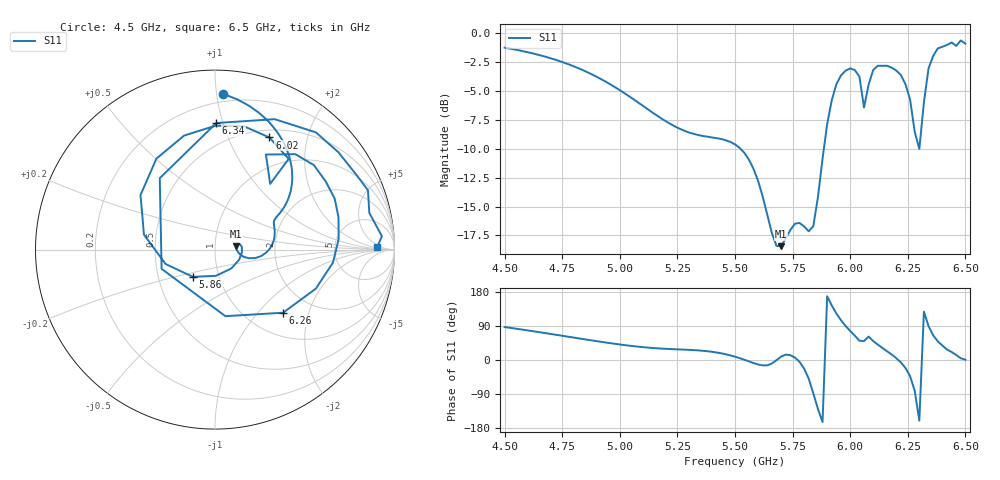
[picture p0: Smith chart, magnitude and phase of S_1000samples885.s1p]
! TOUCHSTONE file generated by CST MICROWAVE STUDIO
! Date and time: Sat Oct 29 16:59:10 2022
! Project name: L.cst
! Parameters = {Di=1.27; Epsilon_r=1.56; InnerDiameter=1.27; Length=2; Lf=10; Lg=60; OuterConductorThickness=0.2921; OuterDiameter=3.6; Wf=3; Wp=41.2; de=1.5; df=6.8; g=0.8; gx=1.75368; gy=4.62771; h=2.34; hf=1.524; px=13.828; py=9.78389; w=9.7; wx=12.0743; wy=5.15618}
! Header version: 2018
! Port assignment regex: !\s*Touchstone port\s*([0-9]+)\s*=\s*(CST MWS port|CST DS port)\s*([0-9]+|Zmin|Zmax)\s*\(\"(.*)\"\)(\s*mode\s*([0-9]+))?.*
! Touchstone port assignment:
! Touchstone port 1 = CST MWS port 1 ("")
# GHz S DB R 50
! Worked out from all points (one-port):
!   101 points, 4.5 GHz to 6.5 GHz, reference 50 ohm
!   lowest |S11| = -18.4 dB at 5.7 GHz (marker M1), VSWR 1.27, Z = 63.4 + j2.39 ohm
!   |S11| at or under -10 dB: 5.524 GHz to 5.886 GHz (361.5 MHz wide, 6.34 % of centre); 6.299958 GHz to 6.300015 GHz (56.95 kHz wide, 0.000904 % of centre)
!   S11 on the Smith chart (normalised r, x): 4.5 GHz: 0.15, +1.04; 5.86 GHz: 0.75, -0.24; 6.02 GHz: 0.59, +1.43; 6.26 GHz: 1.44, -1.38; 6.34 GHz: 0.34, +0.95; 6.5 GHz: 19, +3
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4.5  -1.23 87.0
4.76  -2.54 63.0
5  -4.91 41.0
5.26  -8.25 27.8
5.5  -9.60 8.8
5.6  -12.75 -11.7
5.7  -18.43 8.9
5.76  -16.48 6.5
5.82  -17.14 -49.3
5.86  -14.17 -129.1
5.92  -5.78 143.8
5.96  -3.63 105.2
6  -3.03 76.7
6.02  -3.17 64.1
6.04  -3.73 50.9
6.06  -6.41 50.0
6.08  -4.42 61.8
6.1  -3.16 49.9
6.18  -2.96 14.7
6.22  -3.60 -6.3
6.26  -5.72 -42.8
6.28  -8.51 -81.2
6.3  -10.00 -160.2
6.32  -5.97 127.7
6.34  -3.03 89.4
6.38  -1.29 49.3
6.4  -1.15 38.3
6.5  -0.88 0.8
